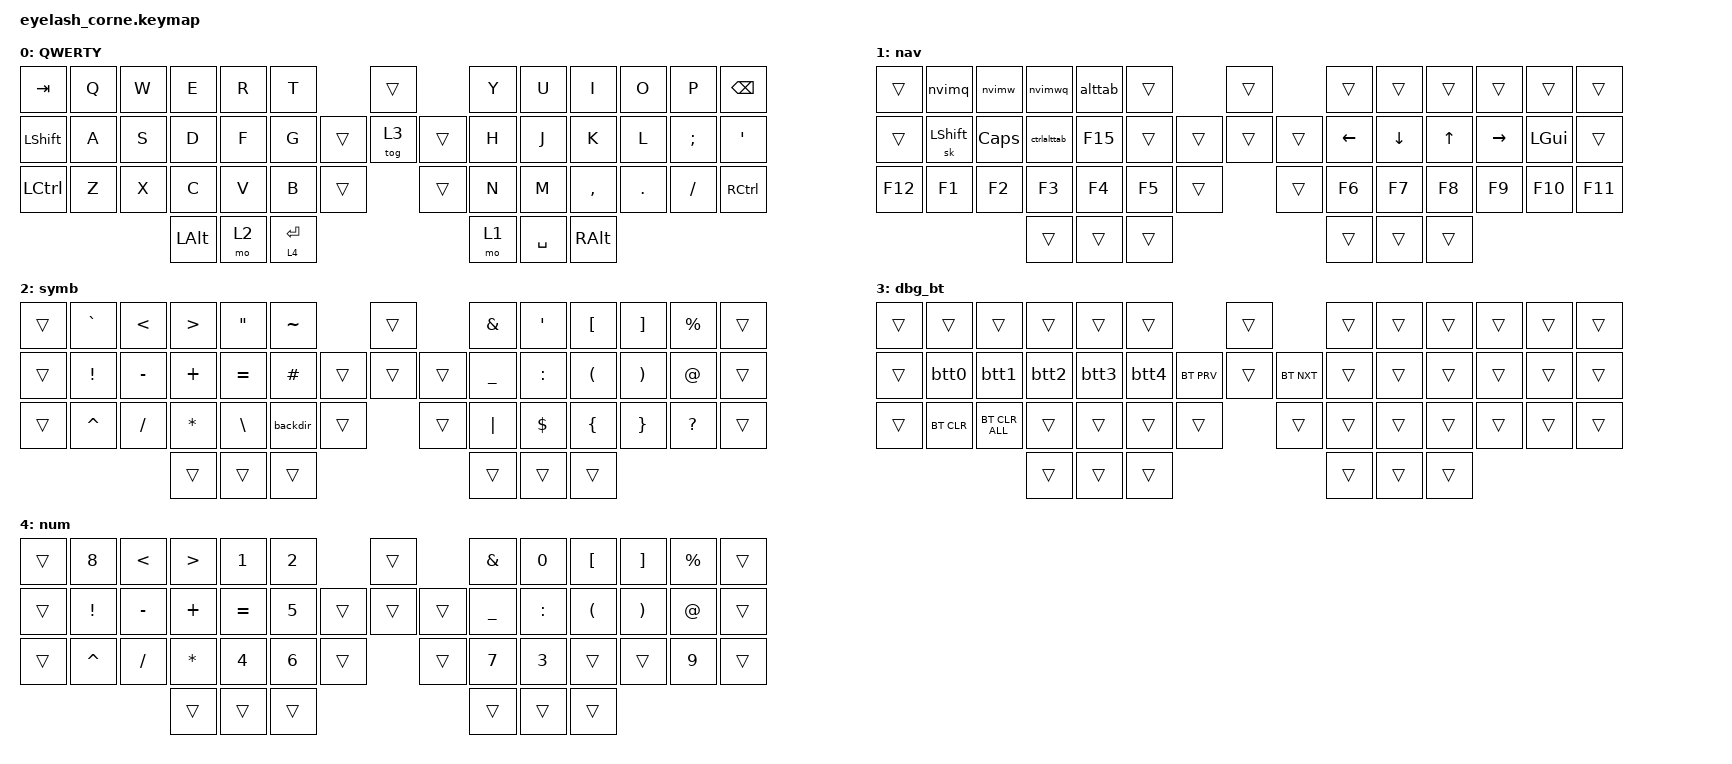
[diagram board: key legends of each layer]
#define ZMK_POINTING_DEFAULT_MOVE_VAL 1200  // 600
#define ZMK_POINTING_DEFAULT_SCRL_VAL 25   // 10

#include <input/processors.dtsi>
#include <zephyr/dt-bindings/input/input-event-codes.h>
#include <behaviors.dtsi>
#include <dt-bindings/zmk/bt.h>
#include <dt-bindings/zmk/keys.h>
#include <dt-bindings/zmk/pointing.h>
#include <dt-bindings/zmk/rgb.h>

&mmv_input_listener { input-processors = <&zip_xy_scaler 2 1>; };

&msc_input_listener { input-processors = <&zip_scroll_scaler 2 1>; };

&msc {
    acceleration-exponent = <1>;      // 0
    time-to-max-speed-ms = <100>;       // 300
    delay-ms = <0>;                   // 0
};

&mmv {
    time-to-max-speed-ms = <500>;
    acceleration-exponent = <1>;
    trigger-period-ms = <16>;
};

/ {
    behaviors {
        td0: td0 {
            compatible = "zmk,behavior-tap-dance";
            display-name = "Shift/Caps Lock Tap Dance";
            #binding-cells = <0>;
            bindings = <&kp LEFT_SHIFT>, <&kp CAPS>;
        };
    };

    rgb_encoder: rgb_encoder {
        compatible = "zmk,behavior-sensor-rotate";
        #sensor-binding-cells = <0>;
        bindings = <&rgb_ug RGB_BRI>, <&rgb_ug RGB_BRD>;
    };

    scroll_encoder: scroll_encoder {
        compatible = "zmk,behavior-sensor-rotate";
        #sensor-binding-cells = <0>;
        bindings = <&msc SCRL_DOWN>, <&msc SCRL_UP>;

        tap-ms = <100>;
    };

    macros {
        nvimq: nvimq {
            compatible = "zmk,behavior-macro";
            #binding-cells = <0>;
            bindings = <&none &kp COLON &kp Q &kp EXCL &kp RET>;
            label = "NVIMQ";
        };

        nvimw: nvimw {
            compatible = "zmk,behavior-macro";
            #binding-cells = <0>;
            bindings = <&none &kp COLON &kp W &kp RET>;
            label = "NVIMW";
        };

        nvimwq: nvimwq {
            compatible = "zmk,behavior-macro";
            #binding-cells = <0>;
            bindings = <&none &kp COLON &kp W &kp Q &kp RET>;
            label = "NVIMWQ";
        };

        alttab: new_macro {
            compatible = "zmk,behavior-macro";
            #binding-cells = <0>;
            bindings = <&none &kp LEFT_ALT &kp TAB>;
            label = "NEW_MACRO";
        };

        ctrlalttab: ctrlalttab {
            compatible = "zmk,behavior-macro";
            #binding-cells = <0>;
            bindings = <&none &kp LCTRL &kp LEFT_ALT &kp TAB>;
            label = "CTRLALTTAB";
        };

        backdir: backdir {
            compatible = "zmk,behavior-macro";
            #binding-cells = <0>;
            bindings = <&none &kp DOT &kp DOT &kp FSLH>;
            label = "BACKDIR";
            wait-ms = <0>;
        };

        brace: braceenter {
            compatible = "zmk,behavior-macro";
            #binding-cells = <0>;
            bindings = <&none &kp LBRC &kp RIGHT_BRACE &kp SEMICOLON &kp LEFT_ARROW &kp LEFT_ARROW &kp ENTER>;
            label = "BRACEENTER";
            wait-ms = <0>;
        };

        btt0: bt1 {
            compatible = "zmk,behavior-macro";
            #binding-cells = <0>;
            bindings = <&none &bt BT_SEL 0 &tog 3>;
            label = "BT1";
        };

        btt1: btt1 {
            compatible = "zmk,behavior-macro";
            #binding-cells = <0>;
            bindings = <&none &bt BT_SEL 1 &tog 3>;
            label = "BTT1";
        };

        btt2: btt2 {
            compatible = "zmk,behavior-macro";
            #binding-cells = <0>;
            bindings = <&none &bt BT_SEL 2 &tog 3>;
            label = "BTT2";
        };

        btt3: btt3 {
            compatible = "zmk,behavior-macro";
            #binding-cells = <0>;
            bindings = <&none &bt BT_SEL 3 &tog 3>;
            label = "BTT3";
        };

        btt4: btt4 {
            compatible = "zmk,behavior-macro";
            #binding-cells = <0>;
            bindings = <&none &bt BT_SEL 4 &tog 3>;
            label = "BTT4";
        };
    };

    combos {
        compatible = "zmk,combos";

        fd_escape {
            bindings = <&kp ENTER>;
            key-positions = <16 17>;
            timeout-ms = <30>;
            layers = <0>;
        };

        jk_enter {
            bindings = <&kp ESCAPE>;
            key-positions = <23 24>;
            timeout-ms = <30>;
            layers = <0>;
        };

        brace_nl {
            bindings = <&brace>;
            key-positions = <38 39>;
            layers = <4 2>;
        };
    };

    keymap {
        compatible = "zmk,keymap";

        default_layer {
            display-name = "QWERTY";
            bindings = <
&kp TAB     &kp Q  &kp W  &kp E         &kp R  &kp T                          &trans          &kp Y  &kp U      &kp I          &kp O    &kp P     &kp BACKSPACE
&kp LSHIFT  &kp A  &kp S  &kp D         &kp F  &kp G                  &trans  &tog 3  &trans  &kp H  &kp J      &kp K          &kp L    &kp SEMI  &kp SQT
&kp LCTRL   &kp Z  &kp X  &kp C         &kp V  &kp B        &trans            &trans          &kp N  &kp M      &kp COMMA      &kp DOT  &kp FSLH  &kp RCTRL
                          &kp LEFT_ALT  &mo 2  &lt 4 ENTER                                    &mo 1  &kp SPACE  &kp RIGHT_ALT
            >;
        };

        navigation {
            bindings = <
&trans   &nvimq          &nvimw    &nvimwq      &alttab  &trans                    &trans          &trans    &trans    &trans        &trans     &trans        &trans
&trans   &sk LEFT_SHIFT  &kp CAPS  &ctrlalttab  &kp F15  &trans            &trans  &trans  &trans  &kp LEFT  &kp DOWN  &kp UP_ARROW  &kp RIGHT  &kp LEFT_GUI  &trans
&kp F12  &kp F1          &kp F2    &kp F3       &kp F4   &kp F5  &trans            &trans          &kp F6    &kp F7    &kp F8        &kp F9     &kp F10       &kp F11
                                   &trans       &trans   &trans                                    &trans    &trans    &trans
            >;

            label = "nav";
        };

        symbol {
            bindings = <
&trans  &kp GRAVE  &kp LESS_THAN  &kp GREATER_THAN  &kp DOUBLE_QUOTES  &kp TILDE                    &trans          &kp AMPERSAND   &kp SINGLE_QUOTE  &kp LBKT              &kp RBKT               &kp PERCENT   &trans
&trans  &kp EXCL   &kp MINUS      &kp PLUS          &kp EQUAL          &kp HASH             &trans  &trans  &trans  &kp UNDERSCORE  &kp COLON         &kp LEFT_PARENTHESIS  &kp RIGHT_PARENTHESIS  &kp AT        &trans
&trans  &kp CARET  &kp FSLH       &kp ASTERISK      &kp BSLH           &backdir   &trans            &trans          &kp PIPE        &kp DOLLAR        &kp LEFT_BRACE        &kp RIGHT_BRACE        &kp QUESTION  &trans
                                  &trans            &trans             &trans                                       &trans          &trans            &trans
            >;

            label = "symb";
        };

        debug_bt {
            bindings = <
&trans  &trans      &trans          &trans  &trans  &trans                        &trans              &trans  &trans  &trans  &trans  &trans  &trans
&trans  &btt0       &btt1           &btt2   &btt3   &btt4             &bt BT_PRV  &trans  &bt BT_NXT  &trans  &trans  &trans  &trans  &trans  &trans
&trans  &bt BT_CLR  &bt BT_CLR_ALL  &trans  &trans  &trans  &trans                &trans              &trans  &trans  &trans  &trans  &trans  &trans
                                    &trans  &trans  &trans                                            &trans  &trans  &trans
            >;

            label = "dbg_bt";
        };

        number_layer {
            label = "num";
            bindings = <
&trans  &kp N8     &kp LESS_THAN  &kp GREATER_THAN  &kp N1     &kp N2                    &trans          &kp AMPERSAND   &kp N0     &kp LBKT              &kp RBKT               &kp PERCENT  &trans
&trans  &kp EXCL   &kp MINUS      &kp PLUS          &kp EQUAL  &kp N5            &trans  &trans  &trans  &kp UNDERSCORE  &kp COLON  &kp LEFT_PARENTHESIS  &kp RIGHT_PARENTHESIS  &kp AT       &trans
&trans  &kp CARET  &kp FSLH       &kp ASTERISK      &kp N4     &kp N6  &trans            &trans          &kp N7          &kp N3     &trans                &trans                 &kp N9       &trans
                                  &trans            &trans     &trans                                    &trans          &trans     &trans
            >;
        };
    };
};
